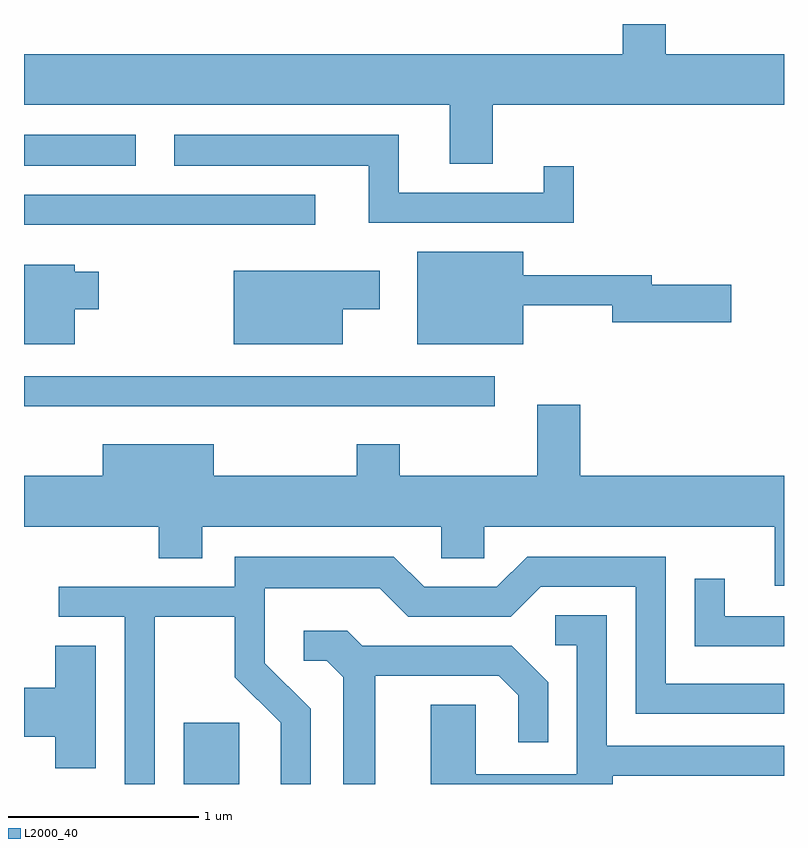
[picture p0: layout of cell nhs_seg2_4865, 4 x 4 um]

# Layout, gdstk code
import gdstk
lib = gdstk.Library(unit=1e-6, precision=1e-09)
def R(c, l, rs):  # rectangles x0, y0, x1, y1
    for r in rs: c.add(gdstk.rectangle(r[:2], r[2:], *l))
def P(c, l, *ps):  # polygons
    for p in ps: c.add(gdstk.Polygon(p, *l))
L2000_40 = (2000, 40)

nhs_seg2_4865 = lib.new_cell('nhs_seg2_4865')
R(nhs_seg2_4865, L2000_40, [(328.451,1095.802,328.744,1096.124), (327.611,1097.791,330.088,1097.949), (327.611,1098.746,329.143,1098.904), (327.611,1099.056,328.198,1099.219)])
P(nhs_seg2_4865, L2000_40, [(330.079,1099.376),(331.611,1099.376),(331.611,1099.644),(330.989,1099.644),(330.989,1099.802),(330.761,1099.802),(330.761,1099.644),(327.611,1099.644),(327.611,1099.376),(329.851,1099.376),(329.851,1099.066),(330.079,1099.066)],
  [(330.504,1099.053),(330.346,1099.053),(330.346,1098.914),(329.584,1098.914),(329.584,1099.219),(328.403,1099.219),(328.403,1099.056),(329.426,1099.056),(329.426,1098.756),(330.504,1098.756)],
  [(330.239,1098.321),(330.706,1098.321),(330.706,1098.231),(331.334,1098.231),(331.334,1098.429),(330.914,1098.429),(330.914,1098.479),(330.239,1098.479),(330.239,1098.604),(329.681,1098.604),(329.681,1098.116),(330.239,1098.116)],
  [(327.879,1098.301),(328.004,1098.301),(328.004,1098.499),(327.879,1098.499),(327.879,1098.534),(327.611,1098.534),(327.611,1098.116),(327.879,1098.116)],
  [(329.289,1098.301),(329.484,1098.301),(329.484,1098.504),(328.716,1098.504),(328.716,1098.116),(329.289,1098.116)],
  [(331.611,1097.424),(330.539,1097.424),(330.539,1097.799),(330.311,1097.799),(330.311,1097.424),(329.589,1097.424),(329.589,1097.589),(329.361,1097.589),(329.361,1097.424),(328.609,1097.424),(328.609,1097.589),(328.026,1097.589),(328.026,1097.424),(327.611,1097.424),(327.611,1097.156),(328.321,1097.156),(328.321,1096.991),(328.549,1096.991),(328.549,1097.156),(329.806,1097.156),(329.806,1096.991),(330.034,1096.991),(330.034,1097.156),(331.561,1097.156),(331.561,1096.846),(331.611,1096.846)],
  [(328.299,1096.681),(328.721,1096.681),(328.721,1096.364),(328.961,1096.124),(328.961,1095.802),(329.119,1095.802),(329.119,1096.197),(328.879,1096.437),(328.879,1096.831),(329.484,1096.831),(329.634,1096.681),(330.172,1096.681),(330.332,1096.841),(330.831,1096.841),(330.831,1096.171),(331.611,1096.171),(331.611,1096.329),(330.989,1096.329),(330.989,1096.999),(330.259,1096.999),(330.099,1096.839),(329.717,1096.839),(329.557,1096.999),(328.721,1096.999),(328.721,1096.839),(327.793,1096.839),(327.793,1096.681),(328.141,1096.681),(328.141,1095.802),(328.299,1095.802)],
  [(331.611,1096.684),(331.299,1096.684),(331.299,1096.883),(331.141,1096.883),(331.141,1096.526),(331.611,1096.526)],
  [(330.709,1095.846),(331.611,1095.846),(331.611,1096.004),(330.679,1096.004),(330.679,1096.689),(330.408,1096.689),(330.408,1096.531),(330.521,1096.531),(330.521,1095.854),(329.989,1095.854),(329.989,1096.219),(329.751,1096.219),(329.751,1095.802),(330.709,1095.802)],
  [(329.459,1096.371),(330.109,1096.371),(330.211,1096.269),(330.211,1096.023),(330.369,1096.023),(330.369,1096.337),(330.177,1096.529),(329.392,1096.529),(329.312,1096.609),(329.083,1096.609),(329.083,1096.451),(329.204,1096.451),(329.291,1096.364),(329.291,1095.802),(329.459,1095.802)],
  [(327.989,1096.529),(327.776,1096.529),(327.776,1096.309),(327.611,1096.309),(327.611,1096.051),(327.776,1096.051),(327.776,1095.886),(327.989,1095.886)])

lib.write_gds('nhs_seg2_4865.gds')
